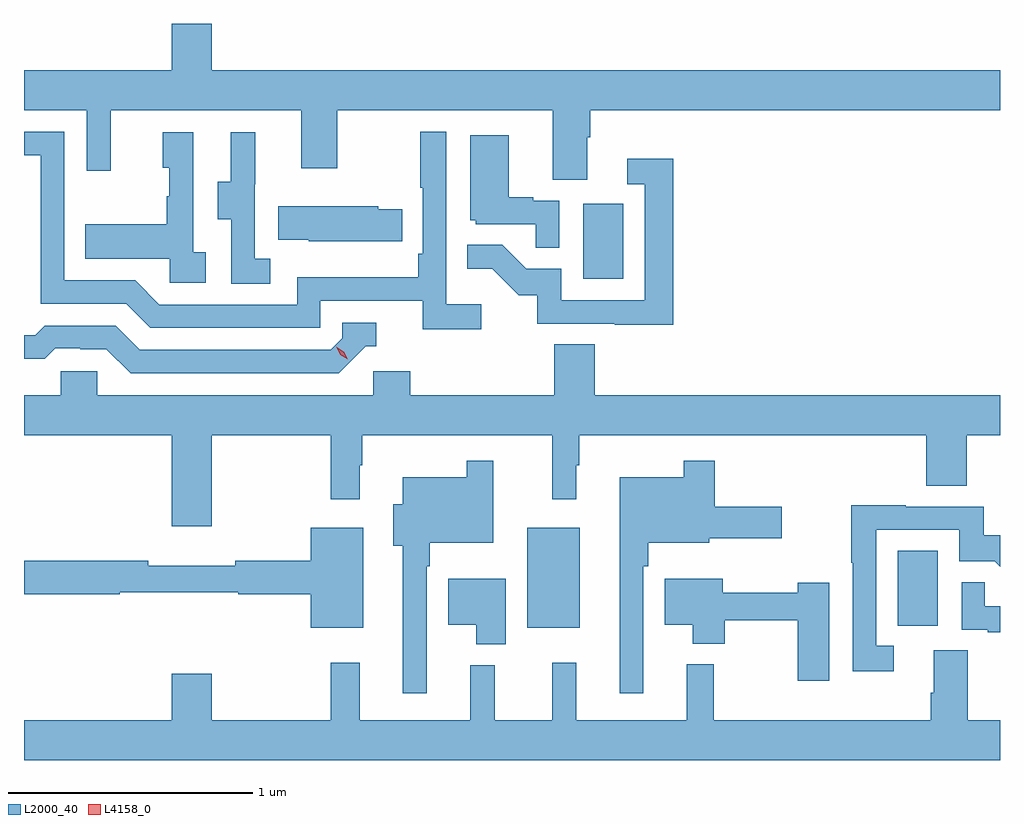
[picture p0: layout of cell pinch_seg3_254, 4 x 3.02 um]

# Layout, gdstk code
import gdstk
lib = gdstk.Library(unit=1e-6, precision=1e-09)
def R(c, l, rs):  # rectangles x0, y0, x1, y1
    for r in rs: c.add(gdstk.rectangle(r[:2], r[2:], *l))
def P(c, l, *ps):  # polygons
    for p in ps: c.add(gdstk.Polygon(p, *l))
L2000_40 = (2000, 40)
L4158_0 = (4158, 0)

pinch_seg3_254 = lib.new_cell('pinch_seg3_254')
R(pinch_seg3_254, L2000_40, [(897.734,721.439,897.949,721.849), (899.252,721.446,899.416,721.753), (897.962,722.868,898.126,723.175)])
P(pinch_seg3_254, L2000_40, [(897.979,723.448),(897.992,723.448),(897.992,723.56),(899.671,723.56),(899.671,723.724),(896.44,723.724),(896.44,723.913),(896.276,723.913),(896.276,723.724),(895.671,723.724),(895.671,723.56),(895.929,723.56),(895.929,723.312),(896.027,723.312),(896.027,723.56),(896.807,723.56),(896.807,723.321),(896.955,723.321),(896.955,723.56),(897.839,723.56),(897.839,723.274),(897.979,723.274)],
  [(897.544,722.764),(897.402,722.764),(897.402,723.472),(897.294,723.472),(897.294,723.241),(897.306,723.241),(897.306,722.971),(897.286,722.971),(897.286,722.875),(896.79,722.875),(896.79,722.763),(896.226,722.763),(896.127,722.862),(895.836,722.862),(895.836,723.471),(895.671,723.471),(895.671,723.375),(895.74,723.375),(895.74,722.766),(896.09,722.766),(896.189,722.667),(896.886,722.667),(896.886,722.778),(897.305,722.778),(897.305,722.662),(897.544,722.662)],
  [(896.68,722.951),(896.616,722.951),(896.616,723.255),(896.618,723.255),(896.618,723.469),(896.519,723.469),(896.519,723.267),(896.465,723.267),(896.465,723.112),(896.52,723.112),(896.52,722.848),(896.68,722.848)],
  [(896.416,722.978),(896.364,722.978),(896.364,723.469),(896.24,723.469),(896.24,723.324),(896.266,723.324),(896.266,723.206),(896.256,723.206),(896.256,723.091),(895.921,723.091),(895.921,722.951),(896.268,722.951),(896.268,722.853),(896.416,722.853)],
  [(897.864,723.189),(897.758,723.189),(897.758,723.202),(897.658,723.202),(897.658,723.457),(897.5,723.457),(897.5,723.108),(897.522,723.108),(897.522,723.093),(897.769,723.093),(897.769,722.995),(897.864,722.995)],
  [(898.331,723.361),(898.143,723.361),(898.143,723.255),(898.215,723.255),(898.215,722.781),(897.873,722.781),(897.873,722.91),(897.729,722.91),(897.631,723.008),(897.487,723.008),(897.487,722.909),(897.591,722.909),(897.698,722.802),(897.775,722.802),(897.775,722.685),(898.093,722.685),(898.093,722.68),(898.331,722.68)],
  [(897.221,723.153),(897.123,723.153),(897.123,723.166),(896.713,723.166),(896.713,723.029),(896.838,723.029),(896.838,723.023),(897.221,723.023)],
  [(897.072,722.592),(897.115,722.592),(897.115,722.688),(896.976,722.688),(896.976,722.625),(896.928,722.577),(896.145,722.577),(896.046,722.676),(895.757,722.676),(895.718,722.637),(895.671,722.637),(895.671,722.541),(895.757,722.541),(895.799,722.583),(895.902,722.583),(895.902,722.58),(896.009,722.58),(896.108,722.481),(896.961,722.481)],
  [(895.971,722.49),(895.821,722.49),(895.821,722.392),(895.671,722.392),(895.671,722.228),(896.276,722.228),(896.276,721.854),(896.44,721.854),(896.44,722.228),(896.929,722.228),(896.929,721.965),(897.046,721.965),(897.046,722.105),(897.058,722.105),(897.058,722.228),(897.835,722.228),(897.835,721.965),(897.934,721.965),(897.934,722.105),(897.946,722.105),(897.946,722.228),(899.369,722.228),(899.369,722.02),(899.534,722.02),(899.534,722.228),(899.671,722.228),(899.671,722.392),(898.01,722.392),(898.01,722.6),(897.845,722.6),(897.845,722.392),(897.254,722.392),(897.254,722.49),(897.102,722.49),(897.102,722.392),(895.971,722.392)],
  [(897.321,721.691),(897.334,721.691),(897.334,721.787),(897.594,721.787),(897.594,722.122),(897.486,722.122),(897.486,722.056),(897.224,722.056),(897.224,721.945),(897.185,721.945),(897.185,721.775),(897.224,721.775),(897.224,721.17),(897.321,721.17)],
  [(898.209,721.691),(898.229,721.691),(898.229,721.787),(898.479,721.787),(898.479,721.805),(898.777,721.805),(898.777,721.935),(898.502,721.935),(898.502,722.122),(898.374,722.122),(898.374,722.056),(898.112,722.056),(898.112,721.17),(898.209,721.17)],
  [(899.236,721.365),(899.163,721.365),(899.163,721.839),(899.505,721.839),(899.505,721.71),(899.649,721.71),(899.671,721.688),(899.671,721.818),(899.604,721.818),(899.604,721.935),(899.285,721.935),(899.285,721.94),(899.062,721.94),(899.062,721.705),(899.067,721.705),(899.067,721.26),(899.236,721.26)],
  [(897.061,721.849),(896.846,721.849),(896.846,721.712),(896.536,721.712),(896.536,721.693),(896.18,721.693),(896.18,721.712),(895.671,721.712),(895.671,721.576),(896.063,721.576),(896.063,721.584),(896.55,721.584),(896.55,721.576),(896.846,721.576),(896.846,721.439),(897.061,721.439)],
  [(897.646,721.639),(897.41,721.639),(897.41,721.451),(897.524,721.451),(897.524,721.37),(897.646,721.37)],
  [(898.972,721.622),(898.843,721.622),(898.843,721.581),(898.534,721.581),(898.534,721.639),(898.298,721.639),(898.298,721.451),(898.412,721.451),(898.412,721.373),(898.542,721.373),(898.542,721.47),(898.843,721.47),(898.843,721.221),(898.972,721.221)],
  [(899.671,721.527),(899.609,721.527),(899.609,721.625),(899.514,721.625),(899.514,721.431),(899.621,721.431),(899.621,721.419),(899.671,721.419)],
  [(899.671,721.06),(899.539,721.06),(899.539,721.346),(899.399,721.346),(899.399,721.172),(899.387,721.172),(899.387,721.06),(898.498,721.06),(898.498,721.288),(898.388,721.288),(898.388,721.06),(897.935,721.06),(897.935,721.294),(897.835,721.294),(897.835,721.06),(897.6,721.06),(897.6,721.285),(897.5,721.285),(897.5,721.06),(897.047,721.06),(897.047,721.294),(896.929,721.294),(896.929,721.06),(896.44,721.06),(896.44,721.249),(896.276,721.249),(896.276,721.06),(895.671,721.06),(895.671,720.896),(899.671,720.896)])
P(pinch_seg3_254, L4158_0, [(896.998,722.538),(896.967,722.557),(896.95,722.589),(896.95,722.589),(896.95,722.589),(896.981,722.57),(896.998,722.538),(896.998,722.538)])

lib.write_gds('pinch_seg3_254.gds')
